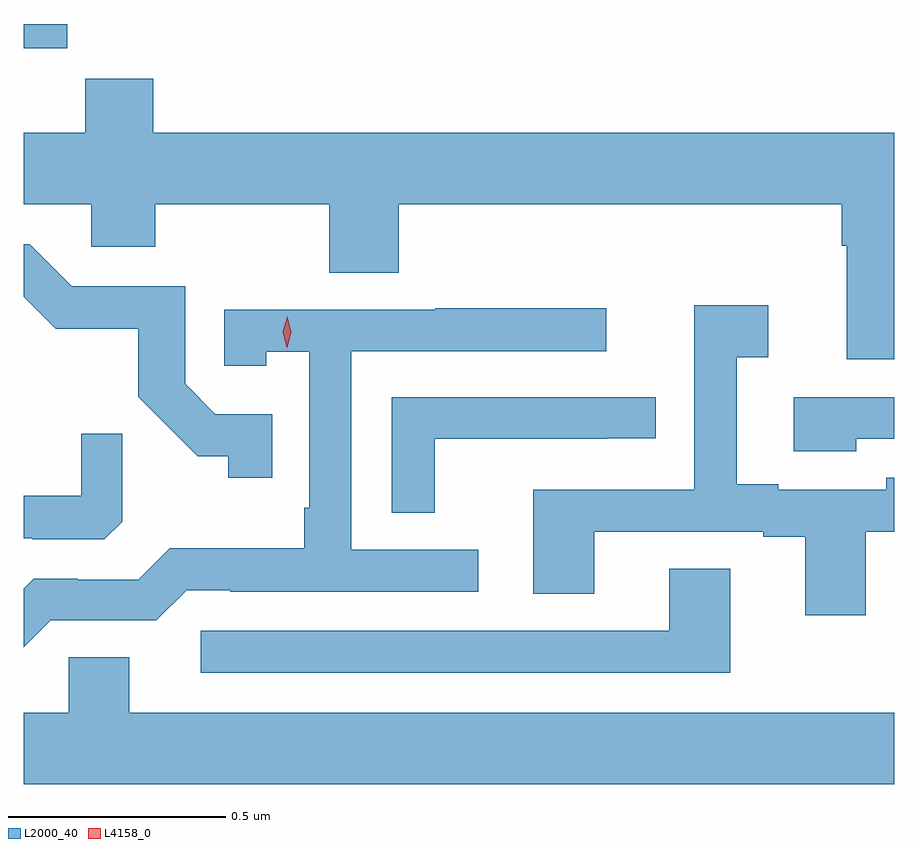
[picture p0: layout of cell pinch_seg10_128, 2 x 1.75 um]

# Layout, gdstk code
import gdstk
lib = gdstk.Library(unit=1e-6, precision=1e-09)
def R(c, l, rs):  # rectangles x0, y0, x1, y1
    for r in rs: c.add(gdstk.rectangle(r[:2], r[2:], *l))
def P(c, l, *ps):  # polygons
    for p in ps: c.add(gdstk.Polygon(p, *l))
L2000_40 = (2000, 40)
L4158_0 = (4158, 0)

pinch_seg10_128 = lib.new_cell('pinch_seg10_128')
R(pinch_seg10_128, L2000_40, [(732.616,1286.022,732.716,1286.078)])
P(pinch_seg10_128, L2000_40, [(734.616,1285.828),(732.914,1285.828),(732.914,1285.952),(732.757,1285.952),(732.757,1285.828),(732.616,1285.828),(732.616,1285.664),(732.771,1285.664),(732.771,1285.566),(732.918,1285.566),(732.918,1285.664),(733.318,1285.664),(733.318,1285.507),(733.478,1285.507),(733.478,1285.664),(734.495,1285.664),(734.495,1285.568),(734.507,1285.568),(734.507,1285.308),(734.616,1285.308)],
  [(733.187,1285.182),(733.056,1285.182),(732.987,1285.251),(732.987,1285.476),(732.726,1285.476),(732.63,1285.572),(732.616,1285.572),(732.616,1285.451),(732.69,1285.378),(732.879,1285.378),(732.879,1285.222),(733.016,1285.085),(733.086,1285.085),(733.086,1285.035),(733.187,1285.035)],
  [(734.551,1284.912),(734.616,1284.912),(734.616,1285.035),(734.598,1285.035),(734.598,1285.008),(734.35,1285.008),(734.35,1285.021),(734.254,1285.021),(734.254,1285.312),(734.326,1285.312),(734.326,1285.432),(734.157,1285.432),(734.157,1285.008),(733.787,1285.008),(733.787,1284.769),(733.927,1284.769),(733.927,1284.912),(734.315,1284.912),(734.315,1284.9),(734.411,1284.9),(734.411,1284.72),(734.551,1284.72)],
  [(732.678,1284.708),(732.921,1284.708),(732.99,1284.777),(733.09,1284.777),(733.09,1284.774),(733.66,1284.774),(733.66,1284.87),(733.368,1284.87),(733.368,1285.326),(733.954,1285.326),(733.954,1285.425),(733.561,1285.425),(733.561,1285.422),(733.077,1285.422),(733.077,1285.293),(733.173,1285.293),(733.173,1285.325),(733.272,1285.325),(733.272,1284.967),(733.26,1284.967),(733.26,1284.874),(732.952,1284.874),(732.879,1284.801),(732.74,1284.801),(732.74,1284.804),(732.639,1284.804),(732.616,1284.781),(732.616,1284.646)],
  [(734.529,1285.125),(734.616,1285.125),(734.616,1285.221),(734.385,1285.221),(734.385,1285.097),(734.529,1285.097)],
  [(733.56,1285.125),(733.955,1285.125),(733.955,1285.126),(734.068,1285.126),(734.068,1285.221),(733.461,1285.221),(733.461,1284.955),(733.56,1284.955)],
  [(732.842,1284.935),(732.842,1285.137),(732.748,1285.137),(732.748,1284.994),(732.616,1284.994),(732.616,1284.897),(732.636,1284.897),(732.636,1284.894),(732.801,1284.894)],
  [(734.239,1284.827),(734.099,1284.827),(734.099,1284.684),(733.023,1284.684),(733.023,1284.588),(734.239,1284.588)],
  [(734.616,1284.496),(732.859,1284.496),(732.859,1284.623),(732.72,1284.623),(732.72,1284.496),(732.616,1284.496),(732.616,1284.332),(734.616,1284.332)])
P(pinch_seg10_128, L4158_0, [(733.221,1285.334),(733.22,1285.335),(733.211,1285.371),(733.222,1285.406),(733.222,1285.407),(733.222,1285.406),(733.231,1285.37),(733.221,1285.335)])

lib.write_gds('pinch_seg10_128.gds')
